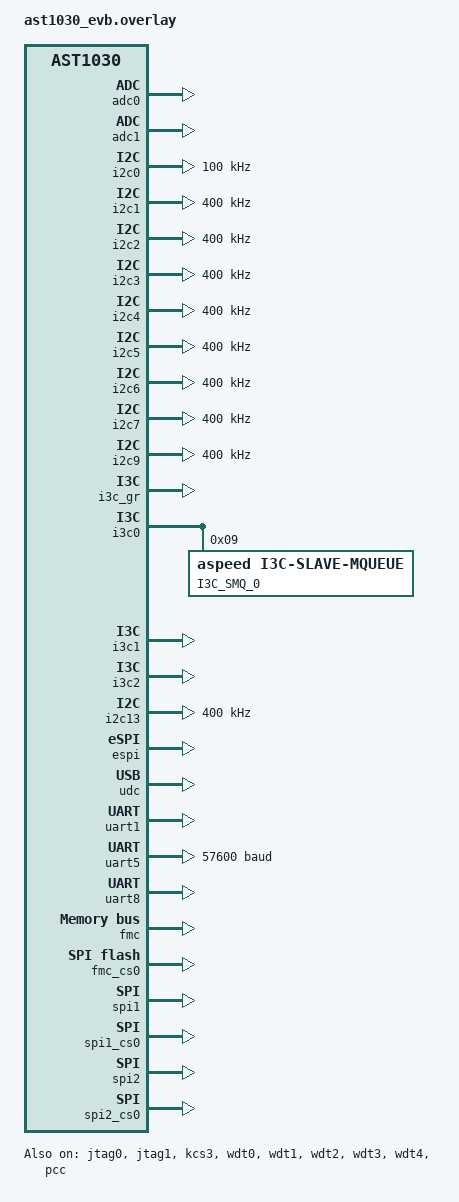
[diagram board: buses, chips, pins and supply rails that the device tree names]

&adc0 {
	status = "okay";
	pinctrl-0 = <&pinctrl_adc0_default &pinctrl_adc1_default
		&pinctrl_adc2_default &pinctrl_adc3_default
		&pinctrl_adc4_default &pinctrl_adc5_default
		&pinctrl_adc6_default &pinctrl_adc7_default>;
};

&adc1 {
	status = "okay";
	pinctrl-0 = <&pinctrl_adc8_default &pinctrl_adc9_default
		&pinctrl_adc10_default &pinctrl_adc11_default
		&pinctrl_adc12_default &pinctrl_adc13_default
		&pinctrl_adc14_default &pinctrl_adc15_default>;
};

&jtag0 {
	status = "okay";
};

&jtag1 {
	status = "okay";
};

&i2c0 {
	pinctrl-0 = <&pinctrl_i2c0_default>;
	status = "okay";
	clock-frequency = <I2C_BITRATE_STANDARD>;
};

&i2c1 {
	pinctrl-0 = <&pinctrl_i2c1_default>;
	status = "okay";
	clock-frequency = <I2C_BITRATE_FAST>;
};

&i2c2 {
	pinctrl-0 = <&pinctrl_i2c2_default>;
	status = "okay";
	clock-frequency = <I2C_BITRATE_FAST>;
};

&i2c3 {
	pinctrl-0 = <&pinctrl_i2c3_default>;
	status = "okay";
	clock-frequency = <I2C_BITRATE_FAST>;
};

&i2c4 {
	pinctrl-0 = <&pinctrl_i2c4_default>;
	status = "okay";
	clock-frequency = <I2C_BITRATE_FAST>;
};

&i2c5 {
	pinctrl-0 = <&pinctrl_i2c5_default>;
	status = "okay";
	clock-frequency = <I2C_BITRATE_FAST>;
};

&i2c6 {
	pinctrl-0 = <&pinctrl_i2c6_default>;
	status = "okay";
	clock-frequency = <I2C_BITRATE_FAST>;
};

&i2c7 {
	pinctrl-0 = <&pinctrl_i2c7_default>;
	status = "okay";
	clock-frequency = <I2C_BITRATE_FAST>;
};

&i2c9 {
	pinctrl-0 = <&pinctrl_i2c9_default>;
	status = "okay";
	clock-frequency = <I2C_BITRATE_FAST>;
};

&i3c_gr {
	status = "okay";
	pull-up-resistor-ohm = <2000>, <2000>, <2000>, <2000>, <2000>, <2000>;
};

&i3c0 {
	status = "okay";
	pinctrl-0 = <&pinctrl_i3c0_default>;
	i3c-scl-hz = <12500000>;
	secondary;
	wait-pid-extra-info;
	ibi-append-pec;
	dcr = <0xCC>;
	i3c0_smq: i3c-slave-mqueue@9 {
		compatible = "aspeed,i3c-slave-mqueue";
		reg = <0x9>;
		msg-size = <256>;
		num-of-msgs = <8>;
		mandatory-data-byte = <0xAE>;
		label = "I3C_SMQ_0";
		status = "okay";
	};
};

&i3c1 {
	status = "okay";
	pinctrl-0 = <&pinctrl_i3c1_default>;
	i3c-scl-hz = <12500000>;
	assigned-address = <0x8>;
};

&i3c2 {
	status = "okay";
	pinctrl-0 = <&pinctrl_i3c2_default>;
	i3c-scl-hz = <1000000>;
	assigned-address = <0x11>;
	i3c-pp-scl-hi-period-ns = <500>;
	i3c-pp-scl-lo-period-ns = <500>;
};

&i2c13 {
	pinctrl-0 = <&pinctrl_i2c13_default>;
	status = "okay";
	clock-frequency = <I2C_BITRATE_FAST>;
};

&espi {
	status = "okay";

	perif,dma-mode;
	perif,memcyc-src-addr = <0x98000000>;
	perif,memcyc-size = <0x10000>;

	oob,dma-mode;

	flash,dma-mode;
	flash,safs-mode = <0x2>;
};

&udc {
	status = "okay";
};

&kcs3 {
  status = "okay";
  addr = <0xca2>;
};

&uart1 {
  status = "okay";
};

&uart5 {
  current-speed = <57600>;
};

&uart8 {
  status = "okay";
};

&gpio0_a_d {
  aspeed,persist-maps = <0x08000000>;
};

&fmc {
	status = "okay";
};

&fmc_cs0 {
	status = "okay";
	spi-max-buswidth = <4>;
	spi-max-frequency = <50000000>;

	partitions {
		compatible = "fixed-partitions";
		#address-cells = <1>;
		#size-cells = <1>;
		boot_partition: partition@0 {
			label = "image-0";
			reg = <0x0 0x100000>;
		};
		dfu_partition: partition@1 {
		       label = "image-1";
		       reg = <0x0 0x100000>;
	       };
	};
};

&spi1 {
	status = "okay";
};

&spi1_cs0 {
	status = "okay";
	spi-max-buswidth = <4>;
	spi-max-frequency = <30000000>;
	re-init-support;
};

&spi2 {
	status = "okay";
};

&spi2_cs0 {
	status = "okay";
	spi-max-buswidth = <4>;
	spi-max-frequency = <30000000>;
	re-init-support;
};

&wdt0 {
  status = "okay";
};

&wdt1 {
	status = "okay";
};

&wdt2 {
	status = "okay";
};

&wdt3 {
	status = "okay";
};

&wdt4 {
	status = "okay";
};

&peci {
	status = "disabled";
};

&sram0 {
	/*
	* The cacheable/non-cacheable memory regions should be aligned to 32KB.
	* Refer to the AST1030 data sheet section of "SCUA50: CM4F Cacheable Area Statement".
	* It is currently written as 24KB, and Aspeed will correct to 32KB in the next version.
	* 0xa0000 is the starting offset of the non-cacheable area.
	*/
	reg = <0 DT_SIZE_K(704)>, <0xB0000 DT_SIZE_K(64)>;
};

&pcc {
	status = "okay";
	addr = <0x80>;
	addr-xbit = <0x3>;
	addr-hbit-sel = <0x1>;
	rec-mode = <0x1>;
	dma-mode;
	dma-ringbuf-size = <0x4000>;
};

&kcs3 {
  status = "okay";
  addr = <0xca2>;
};
